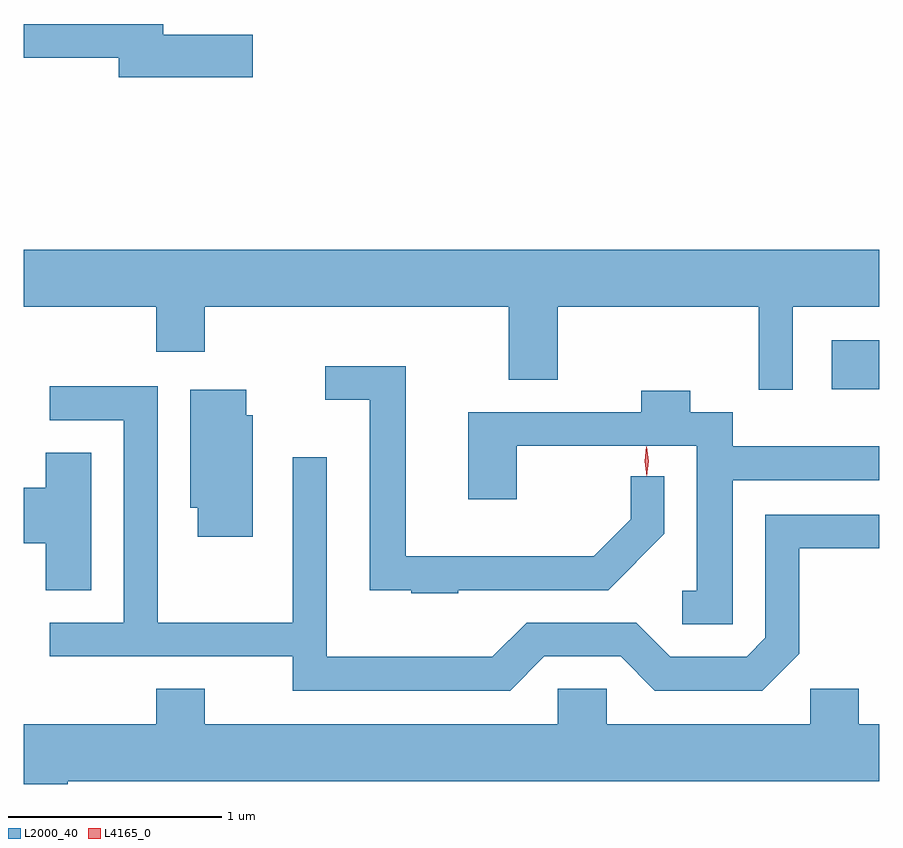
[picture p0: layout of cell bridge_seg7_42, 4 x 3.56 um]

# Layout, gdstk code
import gdstk
lib = gdstk.Library(unit=1e-6, precision=1e-09)
def R(c, l, rs):  # rectangles x0, y0, x1, y1
    for r in rs: c.add(gdstk.rectangle(r[:2], r[2:], *l))
def P(c, l, *ps):  # polygons
    for p in ps: c.add(gdstk.Polygon(p, *l))
L2000_40 = (2000, 40)
L4165_0 = (4165, 0)

bridge_seg7_42 = lib.new_cell('bridge_seg7_42')
R(bridge_seg7_42, L2000_40, [(1548.751,1800.511,1548.973,1800.739)])
P(bridge_seg7_42, L2000_40, [(1546.044,1802.169),(1545.624,1802.169),(1545.624,1802.219),(1544.973,1802.219),(1544.973,1802.061),(1545.416,1802.061),(1545.416,1801.971),(1546.044,1801.971)],
  [(1548.569,1800.896),(1548.973,1800.896),(1548.973,1801.164),(1544.973,1801.164),(1544.973,1800.896),(1545.591,1800.896),(1545.591,1800.686),(1545.819,1800.686),(1545.819,1800.896),(1547.241,1800.896),(1547.241,1800.556),(1547.469,1800.556),(1547.469,1800.896),(1548.411,1800.896),(1548.411,1800.508),(1548.569,1800.508)],
  [(1547.005,1799.571),(1547.707,1799.571),(1547.969,1799.834),(1547.969,1800.103),(1547.811,1800.103),(1547.811,1799.902),(1547.639,1799.729),(1546.759,1799.729),(1546.759,1800.619),(1546.383,1800.619),(1546.383,1800.461),(1546.591,1800.461),(1546.591,1799.571),(1546.785,1799.571),(1546.785,1799.556),(1547.005,1799.556)],
  [(1547.407,1799.261),(1547.764,1799.261),(1547.924,1799.101),(1548.427,1799.101),(1548.599,1799.274),(1548.599,1799.766),(1548.973,1799.766),(1548.973,1799.924),(1548.441,1799.924),(1548.441,1799.347),(1548.354,1799.259),(1547.997,1799.259),(1547.837,1799.419),(1547.324,1799.419),(1547.164,1799.259),(1546.389,1799.259),(1546.389,1800.193),(1546.231,1800.193),(1546.231,1799.419),(1545.599,1799.419),(1545.599,1800.524),(1545.093,1800.524),(1545.093,1800.366),(1545.441,1800.366),(1545.441,1799.419),(1545.093,1799.419),(1545.093,1799.261),(1546.231,1799.261),(1546.231,1799.101),(1547.247,1799.101)],
  [(1546.044,1800.389),(1546.014,1800.389),(1546.014,1800.509),(1545.751,1800.509),(1545.751,1799.956),(1545.786,1799.956),(1545.786,1799.821),(1546.044,1799.821)],
  [(1548.289,1800.086),(1548.973,1800.086),(1548.973,1800.244),(1548.289,1800.244),(1548.289,1800.404),(1548.089,1800.404),(1548.089,1800.504),(1547.861,1800.504),(1547.861,1800.404),(1547.051,1800.404),(1547.051,1799.996),(1547.279,1799.996),(1547.279,1800.246),(1548.121,1800.246),(1548.121,1799.569),(1548.053,1799.569),(1548.053,1799.411),(1548.289,1799.411)],
  [(1545.289,1800.214),(1545.076,1800.214),(1545.076,1800.049),(1544.973,1800.049),(1544.973,1799.791),(1545.076,1799.791),(1545.076,1799.571),(1545.289,1799.571)],
  [(1545.179,1798.676),(1548.973,1798.676),(1548.973,1798.944),(1548.879,1798.944),(1548.879,1799.109),(1548.651,1799.109),(1548.651,1798.944),(1547.699,1798.944),(1547.699,1799.109),(1547.471,1799.109),(1547.471,1798.944),(1545.819,1798.944),(1545.819,1799.109),(1545.591,1799.109),(1545.591,1798.944),(1544.973,1798.944),(1544.973,1798.664),(1545.179,1798.664)])
P(bridge_seg7_42, L4165_0, [(1547.886,1800.103),(1547.886,1800.104),(1547.876,1800.173),(1547.885,1800.242),(1547.885,1800.242),(1547.886,1800.242),(1547.896,1800.173),(1547.886,1800.104)])

lib.write_gds('bridge_seg7_42.gds')
